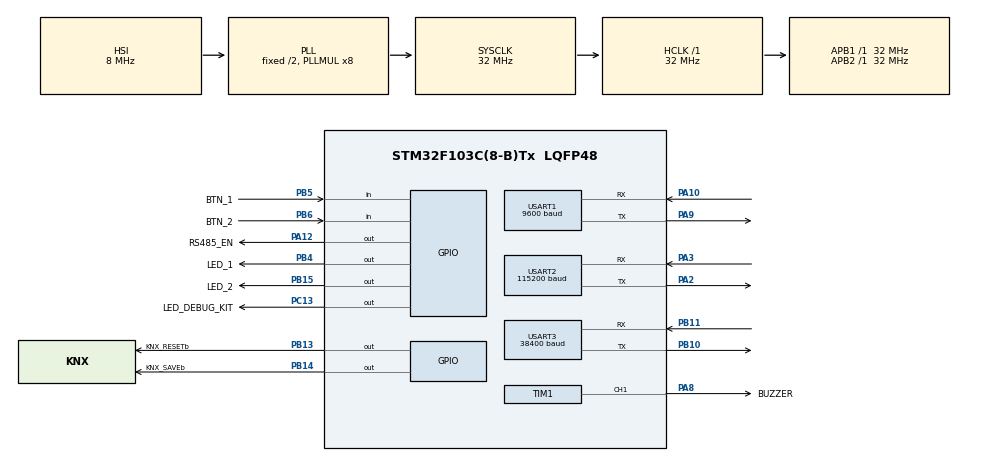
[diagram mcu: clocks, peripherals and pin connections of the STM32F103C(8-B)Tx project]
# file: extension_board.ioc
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Dma.Request0=USART1_RX
Dma.Request1=USART1_TX
Dma.Request2=USART2_TX
Dma.Request3=USART2_RX
Dma.Request4=USART3_RX
Dma.Request5=USART3_TX
Dma.USART1_RX.0.Direction=DMA_PERIPH_TO_MEMORY
Dma.USART1_RX.0.Instance=DMA1_Channel5
Dma.USART1_RX.0.MemDataAlignment=DMA_MDATAALIGN_BYTE
Dma.USART1_RX.0.MemInc=DMA_MINC_ENABLE
Dma.USART1_RX.0.Mode=DMA_CIRCULAR
Dma.USART1_RX.0.PeriphDataAlignment=DMA_PDATAALIGN_BYTE
Dma.USART1_RX.0.PeriphInc=DMA_PINC_DISABLE
Dma.USART1_RX.0.Priority=DMA_PRIORITY_LOW
Dma.USART1_TX.1.Direction=DMA_MEMORY_TO_PERIPH
Dma.USART1_TX.1.Instance=DMA1_Channel4
Dma.USART1_TX.1.MemDataAlignment=DMA_MDATAALIGN_BYTE
Dma.USART1_TX.1.MemInc=DMA_MINC_ENABLE
Dma.USART1_TX.1.Mode=DMA_NORMAL
Dma.USART1_TX.1.PeriphDataAlignment=DMA_PDATAALIGN_BYTE
Dma.USART1_TX.1.PeriphInc=DMA_PINC_DISABLE
Dma.USART1_TX.1.Priority=DMA_PRIORITY_LOW
Dma.USART2_RX.3.Direction=DMA_PERIPH_TO_MEMORY
Dma.USART2_RX.3.Instance=DMA1_Channel6
Dma.USART2_RX.3.MemDataAlignment=DMA_MDATAALIGN_BYTE
Dma.USART2_RX.3.MemInc=DMA_MINC_ENABLE
Dma.USART2_RX.3.Mode=DMA_CIRCULAR
Dma.USART2_RX.3.PeriphDataAlignment=DMA_PDATAALIGN_BYTE
Dma.USART2_RX.3.PeriphInc=DMA_PINC_DISABLE
Dma.USART2_RX.3.Priority=DMA_PRIORITY_LOW
Dma.USART2_TX.2.Direction=DMA_MEMORY_TO_PERIPH
Dma.USART2_TX.2.Instance=DMA1_Channel7
Dma.USART2_TX.2.MemDataAlignment=DMA_MDATAALIGN_BYTE
Dma.USART2_TX.2.MemInc=DMA_MINC_ENABLE
Dma.USART2_TX.2.Mode=DMA_NORMAL
Dma.USART2_TX.2.PeriphDataAlignment=DMA_PDATAALIGN_BYTE
Dma.USART2_TX.2.PeriphInc=DMA_PINC_DISABLE
Dma.USART2_TX.2.Priority=DMA_PRIORITY_LOW
Dma.USART3_RX.4.Direction=DMA_PERIPH_TO_MEMORY
Dma.USART3_RX.4.Instance=DMA1_Channel3
Dma.USART3_RX.4.MemDataAlignment=DMA_MDATAALIGN_BYTE
Dma.USART3_RX.4.MemInc=DMA_MINC_ENABLE
Dma.USART3_RX.4.Mode=DMA_CIRCULAR
Dma.USART3_RX.4.PeriphDataAlignment=DMA_PDATAALIGN_BYTE
Dma.USART3_RX.4.PeriphInc=DMA_PINC_DISABLE
Dma.USART3_RX.4.Priority=DMA_PRIORITY_LOW
Dma.USART3_TX.5.Direction=DMA_MEMORY_TO_PERIPH
Dma.USART3_TX.5.Instance=DMA1_Channel2
Dma.USART3_TX.5.MemDataAlignment=DMA_MDATAALIGN_BYTE
Dma.USART3_TX.5.MemInc=DMA_MINC_ENABLE
Dma.USART3_TX.5.Mode=DMA_NORMAL
Dma.USART3_TX.5.PeriphDataAlignment=DMA_PDATAALIGN_BYTE
Dma.USART3_TX.5.PeriphInc=DMA_PINC_DISABLE
Dma.USART3_TX.5.Priority=DMA_PRIORITY_LOW
Mcu.Family=STM32F1
Mcu.Name=STM32F103C(8-B)Tx
Mcu.Package=LQFP48
NVIC.DMA1_Channel2_IRQn=true\:0\:0\:false\:false\:true\:false\:true\:true
NVIC.DMA1_Channel3_IRQn=true\:0\:0\:false\:false\:true\:false\:true\:true
NVIC.DMA1_Channel4_IRQn=true\:0\:0\:false\:false\:true\:false\:true\:true
NVIC.DMA1_Channel5_IRQn=true\:0\:0\:false\:false\:true\:false\:true\:true
NVIC.DMA1_Channel6_IRQn=true\:0\:0\:false\:false\:true\:false\:true\:true
NVIC.DMA1_Channel7_IRQn=true\:0\:0\:false\:false\:true\:false\:true\:true
NVIC.PriorityGroup=NVIC_PRIORITYGROUP_4
NVIC.TIM3_IRQn=true\:0\:0\:false\:false\:true\:true\:true\:true
NVIC.USART1_IRQn=true\:0\:0\:false\:false\:true\:true\:true\:true
NVIC.USART2_IRQn=true\:0\:0\:false\:false\:true\:true\:true\:true
NVIC.USART3_IRQn=true\:0\:0\:false\:false\:true\:true\:true\:true
PA10.Mode=Asynchronous
PA10.Signal=USART1_RX
PA12.GPIO_Label=RS485_EN
PA12.Signal=GPIO_Output
PA13.Mode=Serial_Wire
PA13.Signal=SYS_JTMS-SWDIO
PA14.Mode=Serial_Wire
PA14.Signal=SYS_JTCK-SWCLK
PA2.Mode=Asynchronous
PA2.Signal=USART2_TX
PA3.Mode=Asynchronous
PA3.Signal=USART2_RX
PA8.GPIO_Label=BUZZER
PA8.Signal=S_TIM1_CH1
PA9.Mode=Asynchronous
PA9.Signal=USART1_TX
PB10.Mode=Asynchronous
PB10.Signal=USART3_TX
PB11.Mode=Asynchronous
PB11.Signal=USART3_RX
PB13.GPIO_Label=KNX_RESETb
PB13.Signal=GPIO_Output
PB14.GPIO_Label=KNX_SAVEb
PB14.Signal=GPIO_Output
PB15.GPIO_Label=LED_2
PB15.Signal=GPIO_Output
PB4.GPIO_Label=LED_1
PB4.Signal=GPIO_Output
PB5.GPIO_Label=BTN_1
PB5.Signal=GPIO_Input
PB6.GPIO_Label=BTN_2
PB6.Signal=GPIO_Input
PC13-TAMPER-RTC.GPIO_Label=LED_DEBUG_KIT
PC13-TAMPER-RTC.Signal=GPIO_Output
ProjectManager.HeapSize=0x200
ProjectManager.StackSize=0x400
ProjectManager.TargetToolchain=STM32CubeIDE
RCC.AHBFreq_Value=32000000
RCC.APB1Freq_Value=32000000
RCC.APB1TimFreq_Value=32000000
RCC.APB2Freq_Value=32000000
RCC.APB2TimFreq_Value=32000000
RCC.HCLKFreq_Value=32000000
RCC.PLLMUL=RCC_PLL_MUL8
RCC.SYSCLKFreq_VALUE=32000000
RCC.SYSCLKSource=RCC_SYSCLKSOURCE_PLLCLK
RCC.USBFreq_Value=32000000
SH.S_TIM1_CH1.0=TIM1_CH1,PWM Generation1 CH1
TIM1.Channel-PWM\ Generation1\ CH1=TIM_CHANNEL_1
TIM1.Period=1
TIM1.Prescaler=31
TIM2.Period=1
TIM2.Prescaler=31
TIM3.Period=99
TIM3.Prescaler=31
USART1.BaudRate=9600
USART1.VirtualMode=VM_ASYNC
USART1.WordLength=WORDLENGTH_8B
USART2.BaudRate=115200
USART2.Parity=PARITY_NONE
USART2.VirtualMode=VM_ASYNC
USART2.WordLength=WORDLENGTH_8B
USART3.BaudRate=38400
USART3.Parity=PARITY_EVEN
USART3.VirtualMode=VM_ASYNC
USART3.WordLength=WORDLENGTH_9B
VP_TIM1_VS_ClockSourceINT.Mode=Internal
VP_TIM2_VS_ClockSourceINT.Mode=Internal
VP_TIM3_VS_ClockSourceINT.Mode=Internal
board=custom

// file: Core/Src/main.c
/* USER CODE BEGIN Header */
/**
  ******************************************************************************
  * @file           : main.c
  * @brief          : Main program body
  ******************************************************************************
  * @attention
  *
  * Copyright (c) 2026 STMicroelectronics.
  * All rights reserved.
  *
  * This software is licensed under terms that can be found in the LICENSE file
  * in the root directory of this software component.
  * If no LICENSE file comes with this software, it is provided AS-IS.
  *
  ******************************************************************************
  */
/* USER CODE END Header */
#include "main.h"

/* USER CODE BEGIN Includes */
#include "soft_timer.h"
#include "uart.h"
#include "button.h"
#include "logger.h"
#include <fsm_input_processing.h>
#include <fsm_main_processing.h>
#include <fsm_output_processing.h>
/* USER CODE END Includes */

TIM_HandleTypeDef htim1;
TIM_HandleTypeDef htim2;
TIM_HandleTypeDef htim3;

//UART_HandleTypeDef huart1;
//UART_HandleTypeDef huart2;
//UART_HandleTypeDef huart3;
//DMA_HandleTypeDef hdma_usart1_rx;
//DMA_HandleTypeDef hdma_usart1_tx;
//DMA_HandleTypeDef hdma_usart2_tx;
//DMA_HandleTypeDef hdma_usart2_rx;
//DMA_HandleTypeDef hdma_usart3_rx;
//DMA_HandleTypeDef hdma_usart3_tx;

void SystemClock_Config(void);
static void MX_GPIO_Init(void);
static void MX_DMA_Init(void);
static void MX_TIM3_Init(void);
static void MX_USART1_UART_Init(void);
static void MX_USART2_UART_Init(void);
static void MX_USART3_UART_Init(void);
static void MX_TIM1_Init(void);
static void MX_TIM2_Init(void);

/* USER CODE BEGIN 0 */
	void HAL_TIM_PeriodElapsedCallback ( TIM_HandleTypeDef * htim ){
		timerRun();
	};
	void HAL_UART_TxCpltCallback(UART_HandleTypeDef *huart) {
	    if (huart->Instance == USART1) {
	        HAL_GPIO_WritePin(RS485_EN_GPIO_Port, RS485_EN_Pin, GPIO_PIN_RESET);
//	        is_transmitting = 0;
	    }
	}

	void HAL_UART_ErrorCallback(UART_HandleTypeDef *huart) {

		    // Giả sử UART1 là cổng kết nối với RS485 của bạn
		    if (huart->Instance == USART1) {

		        // 1. Lưu lại mã lỗi để debug (Tùy chọn)
		        uint32_t error_code = huart->ErrorCode;
		        LOG_WARN("RS485 UART Hardware Error Detected! Code: 0x%02X", error_code);

		        // 2. Ép phần cứng xóa sạch tất cả các cờ lỗi (Overrun, Noise, Framing)
		        __HAL_UART_CLEAR_OREFLAG(huart);
		        __HAL_UART_CLEAR_NEFLAG(huart);
		        __HAL_UART_CLEAR_FEFLAG(huart);
		        __HAL_UART_CLEAR_PEFLAG(huart);

		        // 3. Khởi động lại bộ nhận UART (RẤT QUAN TRỌNG)
		        // Nếu trước đó bạn dùng DMA để nhận, hãy gọi lại lệnh nhận DMA.

		        // (Bạn hãy thay thế lệnh khởi động lại bên dưới bằng đúng lệnh bạn dùng ở hàm init)
		        HAL_UART_AbortReceive(huart); // Dọn dẹp state bị kẹt của HAL

		        // GỌI LỆNH KHỞI ĐỘNG LẠI UART1 NHẬN DỮ LIỆU Ở ĐÂY
		        // ...
		        HAL_UART_Receive_DMA(&huart1, dmaUart1RxBuffer, RX_MAX_BUFFER_SIZE);
		        		        	__HAL_UART_ENABLE_IT(&huart1, UART_IT_IDLE);

		        LOG_WARN("RS485 UART Recovered and Restarted!");
		    }

		    // Bạn có thể làm tương tự cho UART2 (Orange Pi) và UART3 (KNX)
		    // để hệ thống miễn nhiễm hoàn toàn với việc rút/cắm dây nóng (Hot-plug).
		}
/* USER CODE END 0 */

int main(void)
{

  /* MCU Configuration--------------------------------------------------------*/

  /* Reset of all peripherals, Initializes the Flash interface and the Systick. */
  HAL_Init();

  /* USER CODE BEGIN Init */
  MX_TIM1_Init();

  HAL_Delay(1000);

  /* USER CODE END Init */

  /* Configure the system clock */
  SystemClock_Config();

  /* Initialize all configured peripherals */
  MX_GPIO_Init();
  MX_DMA_Init();
  MX_TIM3_Init();
  MX_USART1_UART_Init();
  MX_USART2_UART_Init();
  MX_USART3_UART_Init();
  MX_TIM1_Init();
  MX_TIM2_Init();
  /* USER CODE BEGIN 2 */

  /////////////////////////// for timer
  HAL_TIM_Base_Start_IT (&htim3 );

  /////////////////////////// for initialize

  HAL_GPIO_WritePin(KNX_SAVEb_GPIO_Port, KNX_SAVEb_Pin, SET);
  HAL_GPIO_WritePin(KNX_RESETb_GPIO_Port, KNX_RESETb_Pin, SET);

  Log_Init(LOG_LEVEL_NONE);
  Log_Spec_Init(LOG_SPEC_LEVEL_DEBUG);

  uartManualInit();
  button_init();
  input_processing_init();
  main_processing_init();
  output_processing_init();
  clearTimer(5);
  setTimer(5,500);
  /* USER CODE END 2 */

  /* Infinite loop */
  /* USER CODE BEGIN WHILE */
//  uint8_t state_init = 1;
  while (1)
  {
    /* USER CODE END WHILE */

    /* USER CODE BEGIN 3 */

	  // read uart 1
	  // read uart 2
	  // read uart 3
	  // read buttons
	  button_run();
//	  if(getButtonLongPressFlag(0)){
//		  state_init = 0;
//	  }
//	  if(!state_init){
//	  HAL_GPIO_WritePin(LED_2_GPIO_Port, LED_2_Pin, SET);
//	  HAL_Delay(500);
//	  HAL_GPIO_WritePin(LED_2_GPIO_Port, LED_2_Pin, RESET);
//	  HAL_Delay(500);
	  if(getTimer(5)){
		  clearTimer(5);
		  setTimer(5, 500);
		  HAL_GPIO_TogglePin(LED_2_GPIO_Port, LED_2_Pin);
	  }
//	  if(!state_init){
//
//	  }
		  input_processing_run();
		  main_processing_run();
		  output_processing_run();
//	  };

	  // flush data to uart 1
	  // flush data to uart 2
	  // flush data to uart 3
  }
  /* USER CODE END 3 */
}

void SystemClock_Config(void)
{
  RCC_OscInitTypeDef RCC_OscInitStruct = {0};
  RCC_ClkInitTypeDef RCC_ClkInitStruct = {0};

  /** Initializes the RCC Oscillators according to the specified parameters
  * in the RCC_OscInitTypeDef structure.
  */
  RCC_OscInitStruct.OscillatorType = RCC_OSCILLATORTYPE_HSI;
  RCC_OscInitStruct.HSIState = RCC_HSI_ON;
  RCC_OscInitStruct.HSICalibrationValue = RCC_HSICALIBRATION_DEFAULT;
  RCC_OscInitStruct.PLL.PLLState = RCC_PLL_ON;
  RCC_OscInitStruct.PLL.PLLSource = RCC_PLLSOURCE_HSI_DIV2;
  RCC_OscInitStruct.PLL.PLLMUL = RCC_PLL_MUL8;
  if (HAL_RCC_OscConfig(&RCC_OscInitStruct) != HAL_OK)
  {
    Error_Handler();
  }

  /** Initializes the CPU, AHB and APB buses clocks
  */
  RCC_ClkInitStruct.ClockType = RCC_CLOCKTYPE_HCLK|RCC_CLOCKTYPE_SYSCLK
                              |RCC_CLOCKTYPE_PCLK1|RCC_CLOCKTYPE_PCLK2;
  RCC_ClkInitStruct.SYSCLKSource = RCC_SYSCLKSOURCE_PLLCLK;
  RCC_ClkInitStruct.AHBCLKDivider = RCC_SYSCLK_DIV1;
  RCC_ClkInitStruct.APB1CLKDivider = RCC_HCLK_DIV1;
  RCC_ClkInitStruct.APB2CLKDivider = RCC_HCLK_DIV1;

  if (HAL_RCC_ClockConfig(&RCC_ClkInitStruct, FLASH_LATENCY_1) != HAL_OK)
  {
    Error_Handler();
  }
}

static void MX_TIM1_Init(void)
{

  TIM_ClockConfigTypeDef sClockSourceConfig = {0};
  TIM_MasterConfigTypeDef sMasterConfig = {0};
  TIM_OC_InitTypeDef sConfigOC = {0};
  TIM_BreakDeadTimeConfigTypeDef sBreakDeadTimeConfig = {0};

  htim1.Instance = TIM1;
  htim1.Init.Prescaler = 31;
  htim1.Init.CounterMode = TIM_COUNTERMODE_UP;
  htim1.Init.Period = 1;
  htim1.Init.ClockDivision = TIM_CLOCKDIVISION_DIV1;
  htim1.Init.RepetitionCounter = 0;
  htim1.Init.AutoReloadPreload = TIM_AUTORELOAD_PRELOAD_DISABLE;
  if (HAL_TIM_Base_Init(&htim1) != HAL_OK)
  {
    Error_Handler();
  }
  sClockSourceConfig.ClockSource = TIM_CLOCKSOURCE_INTERNAL;
  if (HAL_TIM_ConfigClockSource(&htim1, &sClockSourceConfig) != HAL_OK)
  {
    Error_Handler();
  }
  if (HAL_TIM_PWM_Init(&htim1) != HAL_OK)
  {
    Error_Handler();
  }
  sMasterConfig.MasterOutputTrigger = TIM_TRGO_RESET;
  sMasterConfig.MasterSlaveMode = TIM_MASTERSLAVEMODE_DISABLE;
  if (HAL_TIMEx_MasterConfigSynchronization(&htim1, &sMasterConfig) != HAL_OK)
  {
    Error_Handler();
  }
  sConfigOC.OCMode = TIM_OCMODE_PWM1;
  sConfigOC.Pulse = 0;
  sConfigOC.OCPolarity = TIM_OCPOLARITY_HIGH;
  sConfigOC.OCNPolarity = TIM_OCNPOLARITY_HIGH;
  sConfigOC.OCFastMode = TIM_OCFAST_DISABLE;
  sConfigOC.OCIdleState = TIM_OCIDLESTATE_RESET;
  sConfigOC.OCNIdleState = TIM_OCNIDLESTATE_RESET;
  if (HAL_TIM_PWM_ConfigChannel(&htim1, &sConfigOC, TIM_CHANNEL_1) != HAL_OK)
  {
    Error_Handler();
  }
  sBreakDeadTimeConfig.OffStateRunMode = TIM_OSSR_DISABLE;
  sBreakDeadTimeConfig.OffStateIDLEMode = TIM_OSSI_DISABLE;
  sBreakDeadTimeConfig.LockLevel = TIM_LOCKLEVEL_OFF;
  sBreakDeadTimeConfig.DeadTime = 0;
  sBreakDeadTimeConfig.BreakState = TIM_BREAK_DISABLE;
  sBreakDeadTimeConfig.BreakPolarity = TIM_BREAKPOLARITY_HIGH;
  sBreakDeadTimeConfig.AutomaticOutput = TIM_AUTOMATICOUTPUT_DISABLE;
  if (HAL_TIMEx_ConfigBreakDeadTime(&htim1, &sBreakDeadTimeConfig) != HAL_OK)
  {
    Error_Handler();
  }
  HAL_TIM_MspPostInit(&htim1);

}

static void MX_TIM2_Init(void)
{

  TIM_ClockConfigTypeDef sClockSourceConfig = {0};
  TIM_MasterConfigTypeDef sMasterConfig = {0};

  htim2.Instance = TIM2;
  htim2.Init.Prescaler = 31;
  htim2.Init.CounterMode = TIM_COUNTERMODE_UP;
  htim2.Init.Period = 1;
  htim2.Init.ClockDivision = TIM_CLOCKDIVISION_DIV1;
  htim2.Init.AutoReloadPreload = TIM_AUTORELOAD_PRELOAD_DISABLE;
  if (HAL_TIM_Base_Init(&htim2) != HAL_OK)
  {
    Error_Handler();
  }
  sClockSourceConfig.ClockSource = TIM_CLOCKSOURCE_INTERNAL;
  if (HAL_TIM_ConfigClockSource(&htim2, &sClockSourceConfig) != HAL_OK)
  {
    Error_Handler();
  }
  sMasterConfig.MasterOutputTrigger = TIM_TRGO_RESET;
  sMasterConfig.MasterSlaveMode = TIM_MASTERSLAVEMODE_DISABLE;
  if (HAL_TIMEx_MasterConfigSynchronization(&htim2, &sMasterConfig) != HAL_OK)
  {
    Error_Handler();
  }

}

static void MX_TIM3_Init(void)
{

  TIM_ClockConfigTypeDef sClockSourceConfig = {0};
  TIM_MasterConfigTypeDef sMasterConfig = {0};

  htim3.Instance = TIM3;
  htim3.Init.Prescaler = 31;
  htim3.Init.CounterMode = TIM_COUNTERMODE_UP;
  htim3.Init.Period = 99;
  htim3.Init.ClockDivision = TIM_CLOCKDIVISION_DIV1;
  htim3.Init.AutoReloadPreload = TIM_AUTORELOAD_PRELOAD_DISABLE;
  if (HAL_TIM_Base_Init(&htim3) != HAL_OK)
  {
    Error_Handler();
  }
  sClockSourceConfig.ClockSource = TIM_CLOCKSOURCE_INTERNAL;
  if (HAL_TIM_ConfigClockSource(&htim3, &sClockSourceConfig) != HAL_OK)
  {
    Error_Handler();
  }
  sMasterConfig.MasterOutputTrigger = TIM_TRGO_RESET;
  sMasterConfig.MasterSlaveMode = TIM_MASTERSLAVEMODE_DISABLE;
  if (HAL_TIMEx_MasterConfigSynchronization(&htim3, &sMasterConfig) != HAL_OK)
  {
    Error_Handler();
  }

}

static void MX_USART1_UART_Init(void)
{

  huart1.Instance = USART1;
  huart1.Init.BaudRate = 9600;
  huart1.Init.WordLength = UART_WORDLENGTH_8B;
  huart1.Init.StopBits = UART_STOPBITS_1;
  huart1.Init.Parity = UART_PARITY_NONE;
  huart1.Init.Mode = UART_MODE_TX_RX;
  huart1.Init.HwFlowCtl = UART_HWCONTROL_NONE;
  huart1.Init.OverSampling = UART_OVERSAMPLING_16;
  if (HAL_UART_Init(&huart1) != HAL_OK)
  {
    Error_Handler();
  }

}

static void MX_USART2_UART_Init(void)
{

  huart2.Instance = USART2;
  huart2.Init.BaudRate = 115200;
  huart2.Init.WordLength = UART_WORDLENGTH_8B;
  huart2.Init.StopBits = UART_STOPBITS_1;
  huart2.Init.Parity = UART_PARITY_NONE;
  huart2.Init.Mode = UART_MODE_TX_RX;
  huart2.Init.HwFlowCtl = UART_HWCONTROL_NONE;
  huart2.Init.OverSampling = UART_OVERSAMPLING_16;
  if (HAL_UART_Init(&huart2) != HAL_OK)
  {
    Error_Handler();
  }

}

static void MX_USART3_UART_Init(void)
{

  huart3.Instance = USART3;
  huart3.Init.BaudRate = 38400;
  huart3.Init.WordLength = UART_WORDLENGTH_9B;
  huart3.Init.StopBits = UART_STOPBITS_1;
  huart3.Init.Parity = UART_PARITY_EVEN;
  huart3.Init.Mode = UART_MODE_TX_RX;
  huart3.Init.HwFlowCtl = UART_HWCONTROL_NONE;
  huart3.Init.OverSampling = UART_OVERSAMPLING_16;
  if (HAL_UART_Init(&huart3) != HAL_OK)
  {
    Error_Handler();
  }

}

static void MX_DMA_Init(void)
{

  /* DMA controller clock enable */
  __HAL_RCC_DMA1_CLK_ENABLE();

  /* DMA interrupt init */
  /* DMA1_Channel2_IRQn interrupt configuration */
  HAL_NVIC_SetPriority(DMA1_Channel2_IRQn, 0, 0);
  HAL_NVIC_EnableIRQ(DMA1_Channel2_IRQn);
  /* DMA1_Channel3_IRQn interrupt configuration */
  HAL_NVIC_SetPriority(DMA1_Channel3_IRQn, 0, 0);
  HAL_NVIC_EnableIRQ(DMA1_Channel3_IRQn);
  /* DMA1_Channel4_IRQn interrupt configuration */
  HAL_NVIC_SetPriority(DMA1_Channel4_IRQn, 0, 0);
  HAL_NVIC_EnableIRQ(DMA1_Channel4_IRQn);
  /* DMA1_Channel5_IRQn interrupt configuration */
  HAL_NVIC_SetPriority(DMA1_Channel5_IRQn, 0, 0);
  HAL_NVIC_EnableIRQ(DMA1_Channel5_IRQn);
  /* DMA1_Channel6_IRQn interrupt configuration */
  HAL_NVIC_SetPriority(DMA1_Channel6_IRQn, 0, 0);
  HAL_NVIC_EnableIRQ(DMA1_Channel6_IRQn);
  /* DMA1_Channel7_IRQn interrupt configuration */
  HAL_NVIC_SetPriority(DMA1_Channel7_IRQn, 0, 0);
  HAL_NVIC_EnableIRQ(DMA1_Channel7_IRQn);

}

static void MX_GPIO_Init(void)
{
  GPIO_InitTypeDef GPIO_InitStruct = {0};

  /* GPIO Ports Clock Enable */
  __HAL_RCC_GPIOC_CLK_ENABLE();
  __HAL_RCC_GPIOA_CLK_ENABLE();
  __HAL_RCC_GPIOB_CLK_ENABLE();

  /*Configure GPIO pin Output Level */
  HAL_GPIO_WritePin(LED_DEBUG_KIT_GPIO_Port, LED_DEBUG_KIT_Pin, GPIO_PIN_RESET);

  /*Configure GPIO pin Output Level */
  HAL_GPIO_WritePin(GPIOB, KNX_RESETb_Pin|KNX_SAVEb_Pin|LED_2_Pin|LED_1_Pin, GPIO_PIN_RESET);

  /*Configure GPIO pin Output Level */
  HAL_GPIO_WritePin(RS485_EN_GPIO_Port, RS485_EN_Pin, GPIO_PIN_RESET);

  /*Configure GPIO pin : LED_DEBUG_KIT_Pin */
  GPIO_InitStruct.Pin = LED_DEBUG_KIT_Pin;
  GPIO_InitStruct.Mode = GPIO_MODE_OUTPUT_PP;
  GPIO_InitStruct.Pull = GPIO_NOPULL;
  GPIO_InitStruct.Speed = GPIO_SPEED_FREQ_LOW;
  HAL_GPIO_Init(LED_DEBUG_KIT_GPIO_Port, &GPIO_InitStruct);

  /*Configure GPIO pins : KNX_RESETb_Pin KNX_SAVEb_Pin LED_2_Pin LED_1_Pin */
  GPIO_InitStruct.Pin = KNX_RESETb_Pin|KNX_SAVEb_Pin|LED_2_Pin|LED_1_Pin;
  GPIO_InitStruct.Mode = GPIO_MODE_OUTPUT_PP;
  GPIO_InitStruct.Pull = GPIO_NOPULL;
  GPIO_InitStruct.Speed = GPIO_SPEED_FREQ_LOW;
  HAL_GPIO_Init(GPIOB, &GPIO_InitStruct);

  /*Configure GPIO pin : RS485_EN_Pin */
  GPIO_InitStruct.Pin = RS485_EN_Pin;
  GPIO_InitStruct.Mode = GPIO_MODE_OUTPUT_PP;
  GPIO_InitStruct.Pull = GPIO_NOPULL;
  GPIO_InitStruct.Speed = GPIO_SPEED_FREQ_LOW;
  HAL_GPIO_Init(RS485_EN_GPIO_Port, &GPIO_InitStruct);

  /*Configure GPIO pins : BTN_1_Pin BTN_2_Pin */
  GPIO_InitStruct.Pin = BTN_1_Pin|BTN_2_Pin;
  GPIO_InitStruct.Mode = GPIO_MODE_INPUT;
  GPIO_InitStruct.Pull = GPIO_NOPULL;
  HAL_GPIO_Init(GPIOB, &GPIO_InitStruct);

}

void Error_Handler(void)
{
  __disable_irq();
  while (1)
  {
  }
}
